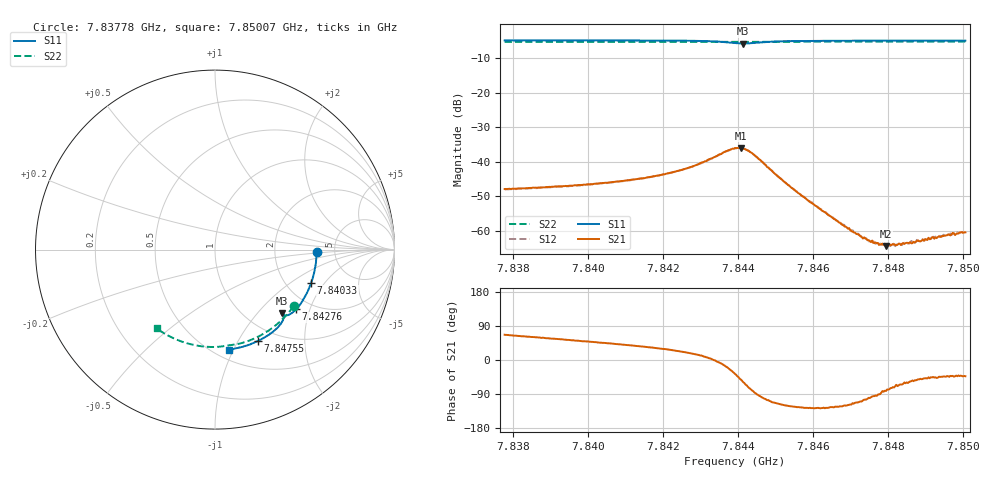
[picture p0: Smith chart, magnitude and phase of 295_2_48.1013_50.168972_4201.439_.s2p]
#  HZ  S  RI  R  50.00
! Rohde & Schwarz Vector Network Analyzer
! Rohde-Schwarz,ZNB20-2Port,1311601062101988,3.16
! Created: UTC 12/23/2023, 4:04:11 AM
! freq[Hz]  re:S11  im:S11  re:S21  im:S21  re:S12  im:S12  re:S22  im:S22
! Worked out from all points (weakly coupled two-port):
!   401 points, 7.83778 GHz to 7.85007 GHz, reference 50 ohm
!   highest |S21| = -35.97 dB at 7.84408 GHz (marker M1); lowest = -64.3 dB at 7.84795 GHz (marker M2)
!   lowest |S11| = -5.8 dB at 7.84414 GHz (marker M3), VSWR 3.10, Z = 70.8 - j67.8 ohm
!   |S11| at or under -10 dB: nowhere
!   |S22| runs from -5.4 to -5.3 dB; largest |S21 - S12| = 0.00034
!   S11 on the Smith chart (normalised r, x): 7.83778 GHz: 3.60, -0.17; 7.84033 GHz: 2.73, -1.48; 7.84276 GHz: 1.67, -1.62; 7.84755 GHz: 0.81, -1.21; 7.85007 GHz: 0.59, -0.96
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7.837783e9  0.5663 -0.0161  0.0016 0.00372  0.00161 0.00361  0.4379 -0.316
7.839841e9  0.5464 -0.1517  0.003 0.00352  0.00297 0.00357  0.3394 -0.4208
7.840333e9  0.5364 -0.1834  0.00342 0.00352  0.00337 0.00352  0.312 -0.442
7.841899e9  0.4906 -0.2809  0.0055 0.00323  0.00544 0.00323  0.2165 -0.4963
7.842759e9  0.4528 -0.3316  0.00808 0.00253  0.00801 0.00258  0.1598 -0.5173
7.843466e9  0.4064 -0.3652  0.0123 -0.00112  0.0122 -0.000822  0.1112 -0.5289
7.843926e9  0.3724 -0.3621  0.0128 -0.00943  0.0126 -0.00928  0.0805 -0.5329
7.84408e9  0.3694 -0.3554  0.00988 -0.0125  0.00986 -0.0123  0.0708 -0.5341
7.844141e9  0.3705 -0.3532  0.0082 -0.0132  0.00841 -0.0131  0.0671 -0.5347
7.844449e9  0.381 -0.3582  0.000814 -0.0124  0.000941 -0.0123  0.0475 -0.538
7.845278e9  0.3656 -0.415  -0.00246 -0.00429  -0.00248 -0.00435  -0.0105 -0.5428
7.845985e9  0.3294 -0.4522  -0.0015 -0.00201  -0.0015 -0.0021  -0.0605 -0.5402
7.846937e9  0.275 -0.4902  -0.000523 -0.000946  -0.000519 -0.000965  -0.1265 -0.5294
7.847275e9  0.2549 -0.5014  -0.000277 -0.000791  -0.000286 -0.000787  -0.1495 -0.5236
7.847551e9  0.2382 -0.5099  -9.9e-05 -0.000683  -0.000107 -0.000728  -0.1682 -0.5181
7.847828e9  0.2211 -0.5176  4.53e-05 -0.00064  4.56e-05 -0.000632  -0.1865 -0.5118
7.84795e9  0.2135 -0.5209  8.65e-05 -0.000604  8.78e-05 -0.000639  -0.1947 -0.5091
7.848043e9  0.2078 -0.5232  0.00014 -0.000604  0.000159 -0.000618  -0.2008 -0.5068
7.848319e9  0.1903 -0.5299  0.00028 -0.000592  0.000267 -0.0006  -0.2188 -0.4993
7.848688e9  0.1669 -0.5376  0.000392 -0.000577  0.000402 -0.000594  -0.2423 -0.4885
7.849148e9  0.1373 -0.5458  0.000536 -0.000547  0.000543 -0.000583  -0.2708 -0.4735
7.85007e9  0.0769 -0.5573  0.000701 -0.00065  0.000766 -0.000644  -0.3252 -0.4387
